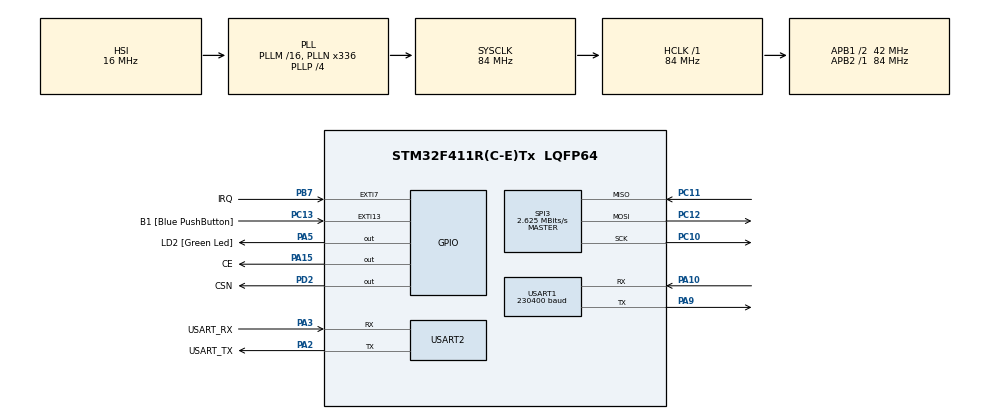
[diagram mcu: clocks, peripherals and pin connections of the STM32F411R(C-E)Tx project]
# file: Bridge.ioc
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Mcu.Family=STM32F4
Mcu.Name=STM32F411R(C-E)Tx
Mcu.Package=LQFP64
NVIC.EXTI15_10_IRQn=true\:0\:3\:false\:false\:true
NVIC.EXTI9_5_IRQn=true\:0\:2\:true\:false\:true
NVIC.PriorityGroup=NVIC_PRIORITYGROUP_0
NVIC.TIM1_BRK_TIM9_IRQn=true\:0\:4\:true\:false\:true
NVIC.USART1_IRQn=true\:0\:0\:false\:false\:true
NVIC.USART2_IRQn=true\:0\:1\:false\:false\:true
PA10.Mode=Asynchronous
PA10.Signal=USART1_RX
PA13.GPIO_Label=TMS
PA13.Mode=Trace-Asynchronous_SW
PA13.Signal=SYS_JTMS-SWDIO
PA14.GPIO_Label=TCK
PA14.Mode=Trace-Asynchronous_SW
PA14.Signal=SYS_JTCK-SWCLK
PA15.GPIO_Label=CE
PA15.Signal=GPIO_Output
PA2.GPIO_Label=USART_TX
PA2.Mode=Asynchronous
PA2.Signal=USART2_TX
PA3.GPIO_Label=USART_RX
PA3.Mode=Asynchronous
PA3.Signal=USART2_RX
PA5.GPIO_Label=LD2 [Green Led]
PA5.Signal=GPIO_Output
PA9.Mode=Asynchronous
PA9.Signal=USART1_TX
PB3.GPIO_Label=SWO
PB3.Mode=Trace-Asynchronous_SW
PB3.Signal=SYS_JTDO-SWO
PB7.GPIO_Label=IRQ
PB7.GPIO_ModeDefaultEXTI=GPIO_MODE_IT_FALLING
PB7.GPIO_PuPd=GPIO_PULLUP
PB7.Signal=GPXTI7
PC10.Mode=Full_Duplex_Master
PC10.Signal=SPI3_SCK
PC11.Mode=Full_Duplex_Master
PC11.Signal=SPI3_MISO
PC12.Mode=Full_Duplex_Master
PC12.Signal=SPI3_MOSI
PC13-ANTI_TAMP.GPIO_Label=B1 [Blue PushButton]
PC13-ANTI_TAMP.GPIO_ModeDefaultEXTI=GPIO_MODE_IT_RISING
PC13-ANTI_TAMP.Signal=GPXTI13
PD2.GPIO_Label=CSN
PD2.Signal=GPIO_Output
ProjectManager.TargetToolchain=SW4STM32
RCC.48MHZClocksFreq_Value=84000000
RCC.AHBFreq_Value=84000000
RCC.APB1CLKDivider=RCC_HCLK_DIV2
RCC.APB1Freq_Value=42000000
RCC.APB1TimFreq_Value=84000000
RCC.APB2Freq_Value=84000000
RCC.APB2TimFreq_Value=84000000
RCC.CortexFreq_Value=84000000
RCC.FLatency-AdvancedSettings=FLASH_LATENCY_2
RCC.HCLKFreq_Value=84000000
RCC.HSE_VALUE=8000000
RCC.HSI_VALUE=16000000
RCC.LSE_VALUE=32768
RCC.PLLN=336
RCC.PLLP=RCC_PLLP_DIV4
RCC.SYSCLKFreq_VALUE=84000000
RCC.SYSCLKSource=RCC_SYSCLKSOURCE_PLLCLK
RCC.VCOOutputFreq_Value=336000000
SPI3.BaudRatePrescaler=SPI_BAUDRATEPRESCALER_16
SPI3.CalculateBaudRate=2.625 MBits/s
SPI3.Mode=SPI_MODE_MASTER
TIM9.Period=42000
TIM9.Prescaler=1
USART1.BaudRate=230400
VP_TIM9_VS_ClockSourceINT.Mode=Internal
board=NUCLEO-F411RE

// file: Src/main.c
/**
  ******************************************************************************
  * File Name          : main.c
  * Description        : Main program body
  ******************************************************************************
  *
  * COPYRIGHT(c) 2016 STMicroelectronics
  *
  * Redistribution and use in source and binary forms, with or without modification,
  * are permitted provided that the following conditions are met:
  *   1. Redistributions of source code must retain the above copyright notice,
  *      this list of conditions and the following disclaimer.
  *   2. Redistributions in binary form must reproduce the above copyright notice,
  *      this list of conditions and the following disclaimer in the documentation
  *      and/or other materials provided with the distribution.
  *   3. Neither the name of STMicroelectronics nor the names of its contributors
  *      may be used to endorse or promote products derived from this software
  *      without specific prior written permission.
  *
  * THIS SOFTWARE IS PROVIDED BY THE COPYRIGHT HOLDERS AND CONTRIBUTORS "AS IS"
  * AND ANY EXPRESS OR IMPLIED WARRANTIES, INCLUDING, BUT NOT LIMITED TO, THE
  * IMPLIED WARRANTIES OF MERCHANTABILITY AND FITNESS FOR A PARTICULAR PURPOSE ARE
  * DISCLAIMED. IN NO EVENT SHALL THE COPYRIGHT HOLDER OR CONTRIBUTORS BE LIABLE
  * FOR ANY DIRECT, INDIRECT, INCIDENTAL, SPECIAL, EXEMPLARY, OR CONSEQUENTIAL
  * DAMAGES (INCLUDING, BUT NOT LIMITED TO, PROCUREMENT OF SUBSTITUTE GOODS OR
  * SERVICES; LOSS OF USE, DATA, OR PROFITS; OR BUSINESS INTERRUPTION) HOWEVER
  * CAUSED AND ON ANY THEORY OF LIABILITY, WHETHER IN CONTRACT, STRICT LIABILITY,
  * OR TORT (INCLUDING NEGLIGENCE OR OTHERWISE) ARISING IN ANY WAY OUT OF THE USE
  * OF THIS SOFTWARE, EVEN IF ADVISED OF THE POSSIBILITY OF SUCH DAMAGE.
  *
  ******************************************************************************
  */
#include "stm32f4xx_hal.h"
#include "spi.h"
#include "tim.h"
#include "usart.h"
#include "gpio.h"

/* USER CODE BEGIN Includes */
#include "NRF24L01.h"
/* USER CODE END Includes */

/* USER CODE BEGIN PV */
/* Private variables ---------------------------------------------------------*/

/* USER CODE END PV */

void SystemClock_Config(void);

/* USER CODE BEGIN PFP */
/* Private function prototypes -----------------------------------------------*/
#define UART1_BUFFER_SIZE 3
#define CABLE_CAM_PAYLOAD 3
#define TELEMETRIE_RX 1
#define TELEMETRIE_WAIT 2
#define TELEMETRIE_DEMANDE 3
/* USER CODE END PFP */

int main(void)
{

  /* USER CODE BEGIN 1 */
	uint8_t rx_data[3];
	uint8_t telemetrie_data[RX_PIPE_1_PAYLOAD];
	uint8_t flag_telemetrie;
	uint8_t IRQ_pin_state;
	uint8_t pipe_nb;
	uint8_t comm_status;

	// STM32F091 (DEBUG a L'appart)
	//uint64_t cable_cam_add = 0x010203;

	// Bridge
	uint64_t cable_cam_add = 0x515151;
	volatile uint8_t NRF24L01_Status;

  /* USER CODE END 1 */

  /* MCU Configuration----------------------------------------------------------*/

  /* Reset of all peripherals, Initializes the Flash interface and the Systick. */
  HAL_Init();

  /* Configure the system clock */
  SystemClock_Config();

  /* Initialize all configured peripherals */
  MX_GPIO_Init();
  MX_SPI3_Init();
  MX_TIM9_Init();
  MX_USART2_UART_Init();
  MX_USART1_UART_Init();

  /* USER CODE BEGIN 2 */
  // Bridge
  //NRF24l01_Initialization(&hspi3,PTX);
  NRF24l01_Initialization(&hspi3,PRX);
  // Cable Cam
  //NRF24l01_Initialization(&hspi3,PRX);

  HAL_TIM_Base_Start_IT(&htim9);
  /* USER CODE END 2 */

  /* Infinite loop */
  /* USER CODE BEGIN WHILE */
  //HAL_UART_Transmit_IT(&huart2,tx_data,3);

  // Bridge
  // DEBUG
  //rx_data[0] = 'O';
  //rx_data[1] = 'K';
  //rx_data[2] = ' ';
  // FIN DEBUG
  //NRF24L01_Transmit(&hspi3,cable_cam_add,rx_data,CABLE_CAM_PAYLOAD,TRUE); // DEBUG
  HAL_UART_Receive_IT(&huart2,rx_data,1);   // PUTTY DEBUG
  HAL_UART_Receive_IT(&huart1,rx_data,UART1_BUFFER_SIZE);	// Bluetooth
  //HAL_UART_Receive_IT(&huart1,rx_data,2);

  NRF24L01_Status = NRF24L01_Read_Status(&hspi3);
  NRF24L01_Flush(&hspi3,TX);
  NRF24L01_Flush(&hspi3,RX);
  NRF24L01_Clear_RX_DR(&hspi3,NRF24L01_Status);
  NRF24L01_Clear_MAX_RT(&hspi3,NRF24L01_Status);
  NRF24L01_Clear_TX_DS(&hspi3,NRF24L01_Status);

  while (1)
  {
	  // Flash LED a chaque seconde

	  if(get_tim9_flag() == FLAG_STATUS){
		  HAL_GPIO_TogglePin(LD2_GPIO_Port,LD2_Pin);
		  rx_data[0]='}';
		  rx_data[1]='~';
		  rx_data[2]='T';
		  //HAL_UART_Transmit_IT(&huart2,rx_data,CABLE_CAM_PAYLOAD);
		  NRF24L01_Transmit(&hspi3,cable_cam_add,rx_data,CABLE_CAM_PAYLOAD,TRUE);
		  flag_telemetrie = TELEMETRIE_DEMANDE;
		  clear_tim9_flag(FLAG_STATUS);
	  }

	  // Si aucun message n'a ete envoye pendant les 300 dernieres ms
	  if(get_tim9_flag() == FLAG_COMM){
		  //HAL_GPIO_TogglePin(LD2_GPIO_Port,LD2_Pin);
		  if((flag_telemetrie == TELEMETRIE_WAIT)||(flag_telemetrie == TELEMETRIE_DEMANDE)){
			  NRF24L01_Mode(&hspi3,PTX);
			  flag_telemetrie = 0;
			  comm_status = 'W';
			  //HAL_UART_Transmit_IT(&huart2,&comm_status,1);
		  }

		  HAL_Delay(1);
		  rx_data[0]='}';
		  rx_data[1]='~';
		  rx_data[2]='K';
		  /*
		  rx_data[0]='{';
		  rx_data[1]='|';
		  rx_data[2]=70;
		  */
		  NRF24L01_Transmit(&hspi3,cable_cam_add,rx_data,CABLE_CAM_PAYLOAD,TRUE);
		  clear_tim9_flag(FLAG_COMM);
	  }

	  // DEBUG
	  // Si un caractere est recu en provenance du terminal
	  if(get_uart_flag(2)){
		  // DEBUG
		  if((rx_data[0]=='\n')||(rx_data[0]=='\r')) {
			  rx_data[0]='\n';
			  rx_data[1]='\r';
			  HAL_UART_Transmit_IT(&huart2,rx_data,2);
			  //NRF24L01_Transmit(&hspi3,cable_cam_add,&rx_data[0],1,TRUE);
			  //NRF24L01_Transmit(&hspi3,cable_cam_add,&rx_data[1],1,TRUE);
		  }
		  else {
			  HAL_UART_Transmit_IT(&huart2,rx_data,1);
			  //NRF24L01_Transmit(&hspi3,cable_cam_add,rx_data,1,TRUE);
		  }
		  clear_uart_flag(2);
		  HAL_UART_Receive_IT(&huart2,rx_data,1);
	  }// FIN DEBUG

	  // Message provenant du module bluetooth
	  if(get_uart_flag(1)){
		  read_buffer(rx_data,3);
		  //HAL_Delay(10);
		  //HAL_UART_Transmit_IT(&huart2,rx_data,UART1_BUFFER_SIZE);  // Envoi sur la console
		  NRF24L01_Transmit(&hspi3,cable_cam_add,rx_data,CABLE_CAM_PAYLOAD,TRUE);
		  clear_uart_flag(1);
		  clear_keepalive_counter();
		  //HAL_UART_Receive_IT(&huart1,rx_data,size_uart1);
	  }

	  if(get_uart_error_flag(1)){
		  //__HAL_UART_CLEAR_OREFLAG(&huart1);
		  //HAL_UART_Transmit_IT(&huart2,"ERROR",5);
		  HAL_UART_Receive(&huart1,rx_data,1,100);
		  clear_uart_error_flag(1);
	  }

	  //NRF24L01_Status = NRF24L01_Read_Status(&hspi3);
	  IRQ_pin_state = HAL_GPIO_ReadPin(IRQ_GPIO_Port,IRQ_Pin);
	  // NRF24L01
	  if(get_IRQ_flag()||(!(IRQ_pin_state))){
		  NRF24L01_Status = NRF24L01_Read_Status(&hspi3);

		  if(NRF24L01_Status & (1<<TX_DS)){
			  NRF24L01_Clear_TX_DS(&hspi3,NRF24L01_Status);
			  comm_status = 'T';
			  //HAL_UART_Transmit_IT(&huart2,&comm_status,1);
			  /*
			  if(flag_telemetrie == TELEMETRIE_DEMANDE){
				  NRF24L01_Mode(&hspi3,PRX);
				  clear_keepalive_counter();
				  flag_telemetrie = TELEMETRIE_WAIT;
			  }*/
		  }
		  if(NRF24L01_Status & (1<<MAX_RT)){
			  comm_status = 'E';
			  //HAL_UART_Transmit_IT(&huart2,&comm_status,1);	// DEBUG
			  //rx_data[0]='\n';								// DEBUG
			  //rx_data[1]='\r';								// DEBUG
			  //HAL_UART_Transmit_IT(&huart2,rx_data,2);		// DEBUG
			  NRF24L01_Flush(&hspi3,TX);
			  NRF24L01_Clear_MAX_RT(&hspi3,NRF24L01_Status);
		  }

		  if(NRF24L01_Status & (1<<RX_DR)){
			  pipe_nb = NRF24L01_Read_Data_Pipe_Number(&hspi3,NRF24L01_Status);
			  NRF24L01_Read_RX_Payload(&hspi3,telemetrie_data,RX_PIPE_1_PAYLOAD);
			  NRF24L01_Clear_RX_DR(&hspi3,NRF24L01_Status);
			  flag_telemetrie = TELEMETRIE_RX;

			  clear_keepalive_counter();

			  NRF24L01_Activation_Control(&hspi3,STANDBY);
			  NRF24L01_Mode(&hspi3,PTX);
			  NRF24L01_Flush(&hspi3,TX);
			  comm_status = 'R';
			  HAL_UART_Transmit_IT(&huart2,&comm_status,1);
		  }
		  pipe_nb = NRF24L01_Read_Data_Pipe_Number(&hspi3,NRF24L01_Status);
		  if(pipe_nb < 7){
			  NRF24L01_Flush(&hspi3,RX);
		  }
		  clear_IRQ_flag();
	  }

	  if(flag_telemetrie == TELEMETRIE_RX){
		  flag_telemetrie = 0;
		  HAL_UART_Transmit_IT(&huart2,telemetrie_data,RX_PIPE_1_PAYLOAD);
		  //telemetrie_data[0]='\n';
		  //telemetrie_data[1]='\r';
		  //HAL_UART_Transmit_IT(&huart2,telemetrie_data,2);

	  }

  /* USER CODE END WHILE */

  }

}

/** System Clock Configuration
*/
void SystemClock_Config(void)
{

  RCC_OscInitTypeDef RCC_OscInitStruct;
  RCC_ClkInitTypeDef RCC_ClkInitStruct;

  __HAL_RCC_PWR_CLK_ENABLE();

  __HAL_PWR_VOLTAGESCALING_CONFIG(PWR_REGULATOR_VOLTAGE_SCALE1);

  RCC_OscInitStruct.OscillatorType = RCC_OSCILLATORTYPE_HSI;
  RCC_OscInitStruct.HSIState = RCC_HSI_ON;
  RCC_OscInitStruct.HSICalibrationValue = 16;
  RCC_OscInitStruct.PLL.PLLState = RCC_PLL_ON;
  RCC_OscInitStruct.PLL.PLLSource = RCC_PLLSOURCE_HSI;
  RCC_OscInitStruct.PLL.PLLM = 16;
  RCC_OscInitStruct.PLL.PLLN = 336;
  RCC_OscInitStruct.PLL.PLLP = RCC_PLLP_DIV4;
  RCC_OscInitStruct.PLL.PLLQ = 4;
  HAL_RCC_OscConfig(&RCC_OscInitStruct);

  RCC_ClkInitStruct.ClockType = RCC_CLOCKTYPE_HCLK|RCC_CLOCKTYPE_SYSCLK
                              |RCC_CLOCKTYPE_PCLK1|RCC_CLOCKTYPE_PCLK2;
  RCC_ClkInitStruct.SYSCLKSource = RCC_SYSCLKSOURCE_PLLCLK;
  RCC_ClkInitStruct.AHBCLKDivider = RCC_SYSCLK_DIV1;
  RCC_ClkInitStruct.APB1CLKDivider = RCC_HCLK_DIV2;
  RCC_ClkInitStruct.APB2CLKDivider = RCC_HCLK_DIV1;
  HAL_RCC_ClockConfig(&RCC_ClkInitStruct, FLASH_LATENCY_2);

  HAL_SYSTICK_Config(HAL_RCC_GetHCLKFreq()/1000);

  HAL_SYSTICK_CLKSourceConfig(SYSTICK_CLKSOURCE_HCLK);

  /* SysTick_IRQn interrupt configuration */
  HAL_NVIC_SetPriority(SysTick_IRQn, 0, 0);
}

/************************ (C) COPYRIGHT STMicroelectronics *****END OF FILE****/
